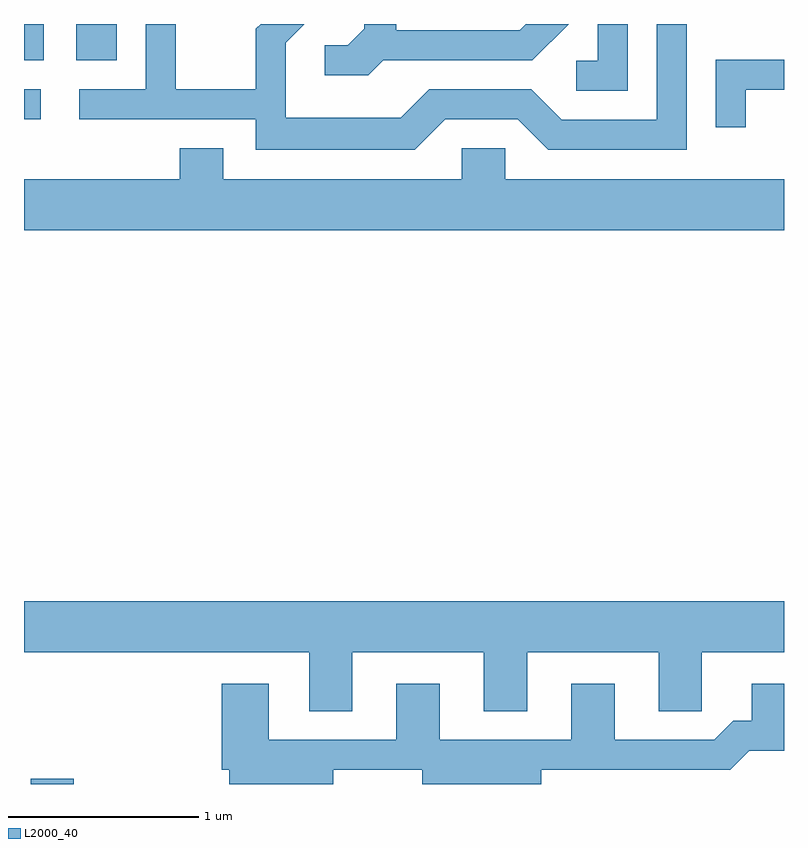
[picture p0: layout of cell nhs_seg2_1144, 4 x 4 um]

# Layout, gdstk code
import gdstk
lib = gdstk.Library(unit=1e-6, precision=1e-09)
def R(c, l, rs):  # rectangles x0, y0, x1, y1
    for r in rs: c.add(gdstk.rectangle(r[:2], r[2:], *l))
def P(c, l, *ps):  # polygons
    for p in ps: c.add(gdstk.Polygon(p, *l))
L2000_40 = (2000, 40)

nhs_seg2_1144 = lib.new_cell('nhs_seg2_1144')
R(nhs_seg2_1144, L2000_40, [(217.646,1089.802,217.874,1089.829), (217.611,1093.301,217.698,1093.459), (217.611,1093.611,217.714,1093.802), (217.886,1093.611,218.099,1093.802)])
P(nhs_seg2_1144, L2000_40, [(220.789,1093.802),(220.631,1093.802),(220.631,1093.609),(220.518,1093.609),(220.518,1093.451),(220.789,1093.451)],
  [(219.827,1093.301),(220.209,1093.301),(220.369,1093.141),(221.099,1093.141),(221.099,1093.802),(220.941,1093.802),(220.941,1093.299),(220.442,1093.299),(220.282,1093.459),(219.744,1093.459),(219.594,1093.309),(218.989,1093.309),(218.989,1093.704),(219.087,1093.802),(218.856,1093.802),(218.831,1093.777),(218.831,1093.459),(218.409,1093.459),(218.409,1093.802),(218.251,1093.802),(218.251,1093.459),(217.903,1093.459),(217.903,1093.301),(218.831,1093.301),(218.831,1093.141),(219.667,1093.141)],
  [(219.502,1093.611),(220.287,1093.611),(220.477,1093.802),(220.252,1093.802),(220.219,1093.769),(219.569,1093.769),(219.569,1093.802),(219.401,1093.802),(219.401,1093.777),(219.314,1093.689),(219.193,1093.689),(219.193,1093.531),(219.422,1093.531)],
  [(221.409,1093.456),(221.611,1093.456),(221.611,1093.614),(221.251,1093.614),(221.251,1093.258),(221.409,1093.258)],
  [(221.611,1092.984),(220.144,1092.984),(220.144,1093.149),(219.916,1093.149),(219.916,1092.984),(218.659,1092.984),(218.659,1093.149),(218.431,1093.149),(218.431,1092.984),(217.611,1092.984),(217.611,1092.716),(221.611,1092.716)],
  [(219.339,1090.496),(220.031,1090.496),(220.031,1090.186),(220.259,1090.186),(220.259,1090.496),(220.951,1090.496),(220.951,1090.186),(221.179,1090.186),(221.179,1090.496),(221.611,1090.496),(221.611,1090.764),(217.611,1090.764),(217.611,1090.496),(219.111,1090.496),(219.111,1090.186),(219.339,1090.186)],
  [(219.239,1089.876),(219.706,1089.876),(219.706,1089.802),(220.334,1089.802),(220.334,1089.876),(221.327,1089.876),(221.427,1089.976),(221.611,1089.976),(221.611,1090.329),(221.441,1090.329),(221.441,1090.134),(221.344,1090.134),(221.244,1090.034),(220.719,1090.034),(220.719,1090.329),(220.491,1090.329),(220.491,1090.034),(219.799,1090.034),(219.799,1090.329),(219.571,1090.329),(219.571,1090.034),(218.899,1090.034),(218.899,1090.329),(218.651,1090.329),(218.651,1089.876),(218.691,1089.876),(218.691,1089.802),(219.239,1089.802)])

lib.write_gds('nhs_seg2_1144.gds')
